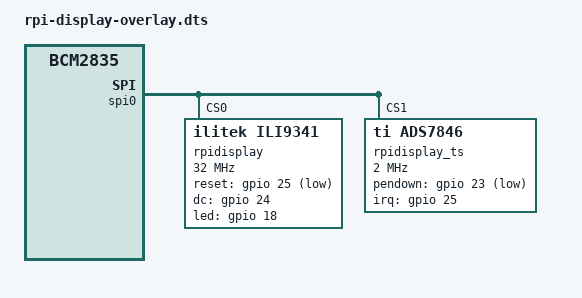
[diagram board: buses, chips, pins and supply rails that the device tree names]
/*
 * Device Tree overlay for ili9341 displays w/ or w/o touch function (WARNING: Touch function part is not described and not tested)
 * Based on official arch linux rpi-display overlay (https://github.com/raspberrypi/linux/blob/rpi-5.4.y/arch/arm/boot/dts/overlays/rpi-display-overlay.dts)
 *
 *             Wiring
 * ili9341 display----Raspberry Pi
 * _________________________________
 * LED----------------GPIO 18
 * SCK----------------GPIO 11 (SCLK)
 * SDO/MISO-----------GPIO 9 (MISO)
 * SDI/MOSI-----------GPIO 10 (MOSI)
 * CS-----------------GPIO 8 (CE0)
 * RESET--------------GPIO 25
 * DC-----------------GPIO 24
 * VCC----------------3.3v
 * GND----------------GND
 *
 * LED, DC, RESET pins can be modified below in fragment@3 and fragment@4 section
 */

/dts-v1/;
/plugin/;

/ {
	compatible = "brcm,bcm2835";

	fragment@0 {
		target = <&spi0>;
		__overlay__ {
			status = "okay";
		};
	};

	fragment@1 {
		target = <&spidev0>;
		__overlay__ {
			status = "disabled";
		};
	};

	fragment@2 {
		target = <&spidev1>;
		__overlay__ {
			status = "disabled";
		};
	};

	fragment@3 {
		target = <&gpio>;
		__overlay__ {
			rpi_display_pins: rpi_display_pins {
				brcm,pins = <18 23 24 25>;
				brcm,function = <1 0 1 1>; /* out in out out */
				brcm,pull = <0 2 0 0>; /* - up - - */
			};
		};
	};

	fragment@4 {
		target = <&spi0>;
		__overlay__ {
			/* needed to avoid dtc warning */
			#address-cells = <1>;
			#size-cells = <0>;

			rpidisplay: rpi-display@0{
				compatible = "ilitek,ili9341";
				reg = <0>;
				pinctrl-names = "default";
				pinctrl-0 = <&rpi_display_pins>;

				spi-max-frequency = <32000000>;
				rotate = <270>;
				bgr;
				fps = <30>;
				buswidth = <8>;
				reset-gpios = <&gpio 25 1>;
				dc-gpios = <&gpio 24 0>;
				led-gpios = <&gpio 18 0>;
				debug = <0>;
			};

			rpidisplay_ts: rpi-display-ts@1 {
				compatible = "ti,ads7846";
				reg = <1>;

				spi-max-frequency = <2000000>;
				interrupts = <25 2>; /* high-to-low edge triggered */
				interrupt-parent = <&gpio>;
				pendown-gpio = <&gpio 23 1>;
				ti,x-plate-ohms = /bits/ 16 <60>;
				ti,pressure-max = /bits/ 16 <255>;
			};
		};
	};
	__overrides__ {
		speed =     <&rpidisplay>,"spi-max-frequency:0";
		rotate =    <&rpidisplay>,"rotate:0";
		fps =       <&rpidisplay>,"fps:0";
		debug =     <&rpidisplay>,"debug:0";
		xohms =     <&rpidisplay_ts>,"ti,x-plate-ohms;0";
		swapxy =    <&rpidisplay_ts>,"ti,swap-xy?";
		backlight = <&rpidisplay>,"led-gpios:4",
		            <&rpi_display_pins>,"brcm,pins:0";
	};
};
